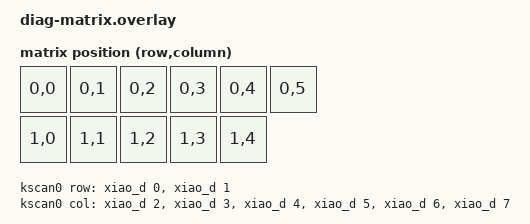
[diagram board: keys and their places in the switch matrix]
/*
 * Replace tester_xiao's baseline direct kscan with a GPIO matrix so kscan
 * diagnostics' topology code can be exercised against
 * zmk,kscan-gpio-matrix in a real build.
 *
 * tester_xiao's shared transform0 is sized to match its keymap (11
 * bindings, see tester_xiao.keymap), so this matrix must expose at least 11
 * distinct (row, col) cells; a 2 row x 6 col matrix (8 pins, well within
 * tester_xiao's xiao_d 0..10 budget) gives 12 cells, of which 11 are mapped.
 */
&kscan0 {
	compatible = "zmk,kscan-gpio-matrix";
	/delete-property/ input-gpios;
	wakeup-source;
	diode-direction = "col2row";
	debounce-press-ms = <5>;
	debounce-release-ms = <5>;
	row-gpios
		= <&xiao_d 0 (GPIO_ACTIVE_HIGH)>
		, <&xiao_d 1 (GPIO_ACTIVE_HIGH)>
		;
	col-gpios
		= <&xiao_d 2 (GPIO_ACTIVE_HIGH)>
		, <&xiao_d 3 (GPIO_ACTIVE_HIGH)>
		, <&xiao_d 4 (GPIO_ACTIVE_HIGH)>
		, <&xiao_d 5 (GPIO_ACTIVE_HIGH)>
		, <&xiao_d 6 (GPIO_ACTIVE_HIGH)>
		, <&xiao_d 7 (GPIO_ACTIVE_HIGH)>
		;
};

/*
 * RC(row, col) here must be the matrix-transform variant, but the keymap's
 * own includes (dt-bindings/zmk/keys.h -> modifiers.h) redefine RC(keycode)
 * as a single-argument modifier helper. Force the matrix-transform
 * definition back for this file (zmk-module-dev SKILL.md pitfall).
 */
#undef RC
#include <dt-bindings/zmk/matrix_transform.h>

&transform0 {
	rows = <2>;
	columns = <6>;
	map = <
	RC(0,0)  RC(0,1)  RC(0,2)  RC(0,3)  RC(0,4)  RC(0,5)
	RC(1,0)  RC(1,1)  RC(1,2)  RC(1,3)  RC(1,4)
	>;
};
